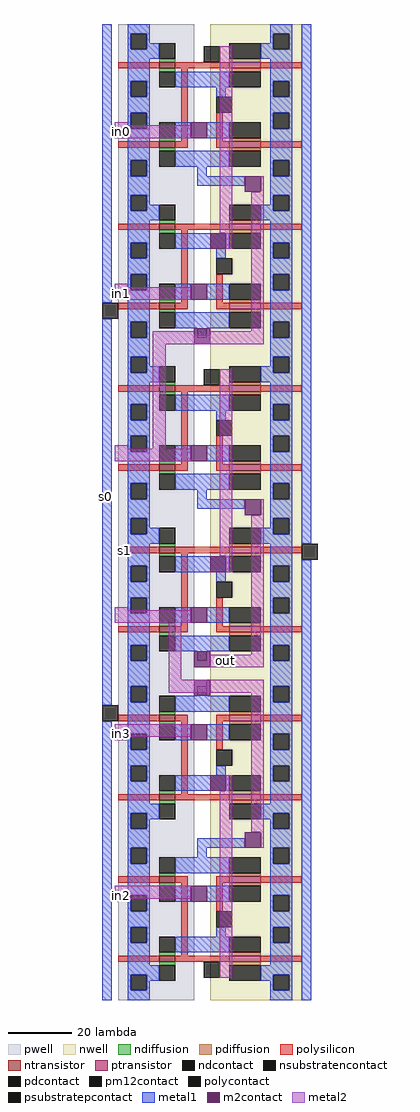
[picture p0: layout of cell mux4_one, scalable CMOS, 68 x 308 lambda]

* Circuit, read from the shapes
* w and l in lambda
.subckt mux4_one GND! Vdd! in0 in1 in2 in3 out s0 s1
M1 n1 mux2_one_2/tg_0/EN GND! GND! nfet w=5 l=2
M2 mux2_one_1/b mux2_one_2/tg_0/EN in2 GND! nfet w=5 l=2
M3 mux2_one_2/tg_0/EN s0 GND! GND! nfet w=5 l=2
M4 mux2_one_1/b s0 in3 GND! nfet w=5 l=2
M5 mux2_one_1/b s1 out GND! nfet w=5 l=2
M6 GND! s1 mux2_one_1/tg_0/EN GND! nfet w=5 l=2
M7 mux2_one_1/a mux2_one_1/tg_0/EN out GND! nfet w=5 l=2
M8 GND! mux2_one_1/tg_0/EN n2 GND! nfet w=5 l=2
M9 in1 s0 mux2_one_1/a GND! nfet w=5 l=2
M10 GND! s0 mux2_one_0/tg_0/EN GND! nfet w=5 l=2
M11 in0 mux2_one_0/tg_0/EN mux2_one_1/a GND! nfet w=5 l=2
M12 GND! mux2_one_0/tg_0/EN n3 GND! nfet w=5 l=2
M13 n1 mux2_one_2/tg_0/EN Vdd! Vdd! pfet w=10 l=2
M14 mux2_one_1/b n1 in2 Vdd! pfet w=10 l=2
M15 mux2_one_2/tg_0/EN s0 Vdd! Vdd! pfet w=10 l=2
M16 mux2_one_1/b mux2_one_2/tg_0/EN in3 Vdd! pfet w=10 l=2
M17 mux2_one_1/b mux2_one_1/tg_0/EN out Vdd! pfet w=10 l=2
M18 Vdd! s1 mux2_one_1/tg_0/EN Vdd! pfet w=10 l=2
M19 mux2_one_1/a n2 out Vdd! pfet w=10 l=2
M20 Vdd! mux2_one_1/tg_0/EN n2 Vdd! pfet w=10 l=2
M21 in1 mux2_one_0/tg_0/EN mux2_one_1/a Vdd! pfet w=10 l=2
M22 Vdd! s0 mux2_one_0/tg_0/EN Vdd! pfet w=10 l=2
M23 in0 n3 mux2_one_1/a Vdd! pfet w=10 l=2
M24 Vdd! mux2_one_0/tg_0/EN n3 Vdd! pfet w=10 l=2
.ends

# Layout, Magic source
magic
tech scmos
<< nwell >>
rect 27 -105 56 -97
<< pwell >>
rect -2 -106 22 -97
<< polysilicon >>
rect -2 -65 1 -63
<< polycontact >>
rect -7 9 -2 14
rect 56 -67 61 -62
rect -7 -118 -2 -113
<< metal1 >>
rect -7 14 -4 102
rect -7 -113 -4 9
rect 56 -62 59 102
rect 1 -104 8 -100
rect 46 -105 53 -101
rect -7 -206 -4 -118
rect 56 -206 59 -67
<< metal2 >>
rect -2 67 4 70
rect -2 16 2 19
rect 9 4 22 5
rect 9 1 31 4
rect 9 -32 13 1
rect 9 -35 12 -32
rect 14 -84 17 -83
rect 14 -105 18 -84
rect 30 -101 35 -98
rect 14 -109 26 -105
rect -2 -123 2 -120
rect -2 -174 2 -171
use mux2_one  mux2_one_0
transform 1 0 -2 0 1 51
box -1 -51 58 51
use mux2_one  mux2_one_1
transform 1 0 -2 0 1 -51
box -1 -51 58 51
use mux2_one  mux2_one_2
transform 1 0 -2 0 -1 -155
box -1 -51 58 51
<< labels >>
rlabel metal2 32 -99 32 -99 1 out
rlabel metal1 -6 -47 -6 -47 3 s0
rlabel polysilicon 0 -64 0 -64 1 s1
rlabel metal2 -1 68 -1 68 1 in0
rlabel metal2 -1 17 -1 17 1 in1
rlabel metal2 -1 -122 -1 -122 1 in3
rlabel metal2 -1 -173 -1 -173 1 in2
<< end >>

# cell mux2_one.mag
magic
tech scmos
<< polysilicon >>
rect 0 -14 4 -12
<< metal1 >>
rect 3 49 10 51
rect 48 50 55 51
rect 25 0 40 3
<< m2contact >>
rect 40 -2 45 3
rect 29 -20 34 -15
rect 24 -50 29 -45
<< pm12contact >>
rect 27 39 32 44
<< metal2 >>
rect 0 16 7 19
rect 32 -15 36 44
rect 45 -2 46 3
rect 34 -20 36 -15
rect 0 -35 7 -32
rect 42 -46 46 -2
rect 29 -50 46 -46
use tg  tg_0
transform 1 0 -87 0 1 -43
box 86 43 145 94
use tg  tg_1
transform 1 0 -87 0 1 -94
box 86 43 145 94
<< labels >>
rlabel metal2 2 16 2 19 3 a
rlabel metal2 2 -35 2 -32 3 b
rlabel polysilicon 2 -13 2 -13 3 sel
rlabel metal2 31 -48 31 -48 1 out
<< end >>

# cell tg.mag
magic
tech scmos
<< nwell >>
rect 116 43 145 94
<< pwell >>
rect 87 43 111 94
<< ntransistor >>
rect 100 80 105 82
rect 100 55 105 57
<< ptransistor >>
rect 122 80 132 82
rect 122 55 132 57
<< ndiffusion >>
rect 100 82 105 83
rect 100 79 105 80
rect 100 57 105 58
rect 100 54 105 55
<< pdiffusion >>
rect 122 82 132 83
rect 122 79 132 80
rect 122 57 132 58
rect 122 54 132 55
<< ndcontact >>
rect 100 83 105 88
rect 100 74 105 79
rect 100 58 105 63
rect 100 49 105 54
<< pdcontact >>
rect 122 83 132 88
rect 122 74 132 79
rect 122 58 132 63
rect 122 49 132 54
<< psubstratepcontact >>
rect 91 86 96 91
rect 91 71 96 76
rect 91 61 96 66
rect 91 46 96 51
<< nsubstratencontact >>
rect 136 86 141 91
rect 136 71 141 76
rect 136 61 141 66
rect 136 46 141 51
<< polysilicon >>
rect 87 80 100 82
rect 105 80 122 82
rect 132 80 145 82
rect 107 57 109 80
rect 87 55 100 57
rect 105 55 109 57
rect 118 57 120 66
rect 118 55 122 57
rect 132 55 145 57
<< polycontact >>
rect 118 66 123 71
<< metal1 >>
rect 90 91 97 94
rect 90 86 91 91
rect 96 88 97 91
rect 135 91 142 94
rect 135 88 136 91
rect 96 86 100 88
rect 90 83 100 86
rect 132 86 136 88
rect 141 86 142 91
rect 132 83 142 86
rect 90 76 97 83
rect 90 71 91 76
rect 96 71 97 76
rect 105 74 122 79
rect 135 76 142 83
rect 90 66 97 71
rect 118 71 121 74
rect 135 71 136 76
rect 141 71 142 76
rect 135 66 142 71
rect 90 61 91 66
rect 96 61 97 66
rect 90 51 97 61
rect 105 58 110 63
rect 115 58 122 63
rect 135 61 136 66
rect 141 61 142 66
rect 90 46 91 51
rect 96 46 97 51
rect 105 49 122 54
rect 135 51 142 61
rect 112 46 115 49
rect 135 46 136 51
rect 141 46 142 51
rect 90 43 97 46
rect 135 43 142 46
<< m2contact >>
rect 110 58 115 63
<< metal2 >>
rect 86 62 90 63
rect 86 58 110 62
<< labels >>
rlabel metal1 112 47 115 47 1 out
rlabel metal1 136 44 141 44 1 Vdd!
rlabel polysilicon 88 80 88 82 3 EN
rlabel metal1 136 92 141 92 5 Vdd!
rlabel metal1 91 92 96 92 5 GND!
rlabel metal1 91 44 96 44 1 GND!
<< end >>
